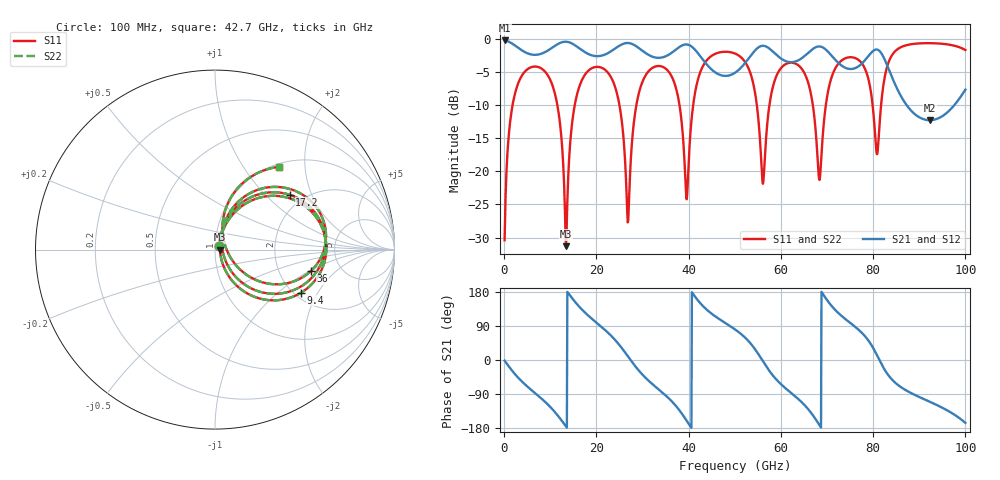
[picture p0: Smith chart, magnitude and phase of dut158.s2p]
! Touchstone file exported from HFSS 2026.1.0
!  File:  C:/ffzhzh/LocalFiles/Ansys_Project_Files/temp_test_TSV_RDL_158_1783465211_34316.aedt
!  Generated:  07:35:16 AM Jul  8, 2026
!  Design:  TSV_RDL
!  Project:  temp_test_TSV_RDL_158_1783465211_34316
! Variables:
!  h_bsmrdl = 2.37um
!  h_ox = 20um
!  h_rdl = 5um
!  h_sub = 98.16um
!  h_tmrdl = 4.41um
!  h_tsv = 98.16um
!  h_via = 3um
!  l_bsmrdl = 476.5um
!  l_sub = 4228.74um
!  l_tmrdl = 571.22um
!  m_sub = 200um
!  pitch = 58.39um
!  r_tsv = 7.48um
!  s_tmrdl = 10um
!  w_bsmrdl = 22.19um
!  w_sub = 500um
!  w_tmrdl = 15.93um
!  x_tsv_center1 = 579.185um
!  x_tsv_center2 = 1077.875um
!  x_tsv_center3 = 1665.025um
!  x_tsv_center4 = 2163.715um
!  x_tsv_center5 = 2750.865um
!  x_tsv_center6 = 3249.555um
# GHz S MA R 50.000000
! Terminal data exported
! Port[1] = TM_RDL1_1_T1
! Port[2] = TM_RDL5_1_T1
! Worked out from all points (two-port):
!   1000 points, 100 MHz to 100 GHz, reference 50 ohm
!   highest |S21| = -0.20 dB at 100 MHz (marker M1); lowest = -12.3 dB at 92.3 GHz (marker M2)
!   |S21| within 3 dB of the highest: start of sweep to 43.2 GHz; 63.78 GHz to 71.9 GHz (8.118 GHz wide, 12 % of centre) (the widest 2 of 4)
!   lowest |S11| = -31.3 dB at 13.4 GHz (marker M3), VSWR 1.06, Z = 52.8 - j0.0651 ohm
!   |S11| at or under -10 dB: 11.54 GHz to 15.3 GHz (3.758 GHz wide, 28 % of centre); 25 GHz to 28.66 GHz (3.655 GHz wide, 13.6 % of centre); 38.02 GHz to 40.98 GHz (2.956 GHz wide, 7.48 % of centre) (the widest 3 of 7)
!   |S22| runs from -31.3 to -0.6 dB; largest |S21 - S12| = 6.3e-13
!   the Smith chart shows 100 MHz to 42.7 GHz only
!   S11 on the Smith chart (normalised r, x): 100 MHz: 1.05, +0.04; 9.4 GHz: 2.17, -1.46; 17.2 GHz: 1.69, +1.41; 36 GHz: 3.01, -1.04; 42.7 GHz: 1.05, +1.47
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0.1  0.03015 39.6  0.9772 -1.7  0.9772 -1.7  0.03015 39.6
! Gamma 0 0 0 0
! Port Impedance 50 0 50 0
2.7  0.4282 44.3  0.877 -42.2  0.877 -42.2  0.4282 44.3
9.4  0.5368 -26.5  0.8171 -116.5  0.8171 -116.5  0.5368 -26.5
13.4  0.02721 -1.3  0.9559 -175.2  0.9559 -175.2  0.02716 -1.2
16.8  0.4849 40.8  0.8278 134.0  0.8278 134.0  0.4849 40.8
17.2  0.5165 36.2  0.81 129.0  0.81 129.0  0.5165 36.2
23.8  0.4606 -31.3  0.8368 56.3  0.8368 56.3  0.4606 -31.3
26.8  0.04112 0.0  0.9349 10.2  0.9349 10.2  0.04129 -0.0
33.4  0.6263 12.7  0.7221 -76.6  0.7221 -76.6  0.6263 12.6
36  0.5463 -12.7  0.7748 -104.8  0.7748 -104.8  0.5462 -12.8
39.6  0.06157 25.6  0.9116 -160.8  0.9116 -160.8  0.06104 25.7
42.7  0.5834 52.2  0.7285 147.5  0.7285 147.5  0.5833 52.3
50.1  0.7768 -8.5  0.5585 80.3  0.5585 80.3  0.7768 -8.5
56.3  0.09337 23.8  0.8899 -7.0  0.8899 -7.0  0.09374 23.7
59.9  0.5962 23.9  0.7183 -62.4  0.7183 -62.4  0.5963 23.9
66.7  0.355 -40.9  0.8312 -141.9  0.8312 -141.9  0.3551 -40.9
71.2  0.5404 42.8  0.7361 139.8  0.7361 139.8  0.5404 42.7
77.3  0.6724 -12.0  0.6416 74.7  0.6416 74.7  0.6723 -12.0
80.8  0.1349 4.6  0.8344 13.4  0.8344 13.4  0.135 4.7
83.4  0.6762 38.2  0.5905 -41.8  0.5905 -41.8  0.6763 38.2
92.3  0.9323 -20.5  0.2439 -110.3  0.2439 -110.3  0.9324 -20.5
100  0.8274 -71.2  0.4151 -165.8  0.4151 -165.8  0.8277 -71.3
